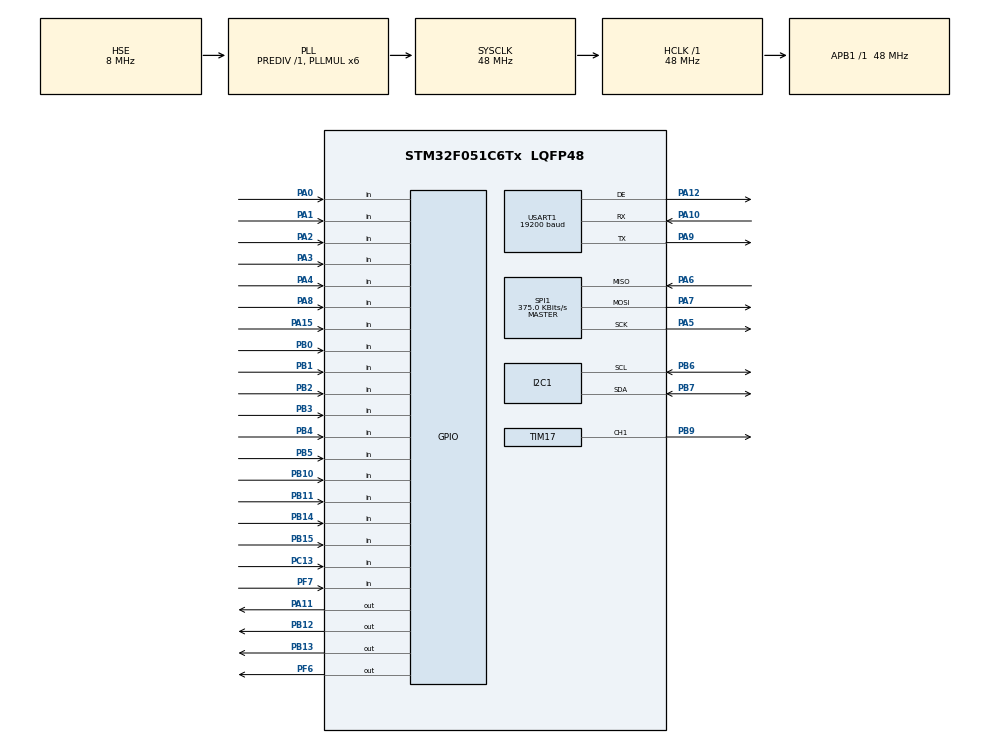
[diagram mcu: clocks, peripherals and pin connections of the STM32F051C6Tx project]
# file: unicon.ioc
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I2C1.Timing=0x20303E5D
Mcu.Family=STM32F0
Mcu.Name=STM32F051C6Tx
Mcu.Package=LQFP48
Mcu.UserConstants=MODBUS_ENABLE,0
NVIC.TIM17_IRQn=true\:0\:0\:false\:false\:true\:true
NVIC.TIM6_DAC_IRQn=true\:0\:0\:false\:false\:true\:true
NVIC.USART1_IRQn=true\:0\:0\:false\:false\:true\:true
PA0.GPIO_Mode=GPIO_MODE_INPUT
PA0.GPIO_PuPd=GPIO_NOPULL
PA0.Signal=GPIO_Input
PA1.GPIO_Mode=GPIO_MODE_INPUT
PA1.GPIO_PuPd=GPIO_NOPULL
PA1.Signal=GPIO_Input
PA10.Mode=Asynchronous
PA10.Signal=USART1_RX
PA11.GPIO_ModeDefaultOutputPP=GPIO_MODE_OUTPUT_PP
PA11.GPIO_PuPd=GPIO_NOPULL
PA11.GPIO_Speed=GPIO_SPEED_FREQ_LOW
PA11.PinState=GPIO_PIN_RESET
PA11.Signal=GPIO_Output
PA12.Mode=Hardware Flow Control (RS485)
PA12.Signal=USART1_DE
PA13.Mode=Serial_Wire
PA13.Signal=SYS_SWDIO
PA14.Mode=Serial_Wire
PA14.Signal=SYS_SWCLK
PA15.GPIO_Mode=GPIO_MODE_INPUT
PA15.GPIO_PuPd=GPIO_NOPULL
PA15.Signal=GPIO_Input
PA2.GPIO_Mode=GPIO_MODE_INPUT
PA2.GPIO_PuPd=GPIO_NOPULL
PA2.Signal=GPIO_Input
PA3.GPIO_Mode=GPIO_MODE_INPUT
PA3.GPIO_PuPd=GPIO_NOPULL
PA3.Signal=GPIO_Input
PA4.GPIO_Mode=GPIO_MODE_INPUT
PA4.GPIO_PuPd=GPIO_NOPULL
PA4.Signal=GPIO_Input
PA5.GPIO_Mode=GPIO_MODE_AF_PP
PA5.GPIO_PuPd=GPIO_NOPULL
PA5.GPIO_Speed=GPIO_SPEED_FREQ_HIGH
PA5.Mode=Full_Duplex_Master
PA5.Signal=SPI1_SCK
PA6.GPIO_Mode=GPIO_MODE_AF_PP
PA6.GPIO_PuPd=GPIO_NOPULL
PA6.GPIO_Speed=GPIO_SPEED_FREQ_HIGH
PA6.Mode=Full_Duplex_Master
PA6.Signal=SPI1_MISO
PA7.GPIO_Mode=GPIO_MODE_AF_PP
PA7.GPIO_PuPd=GPIO_NOPULL
PA7.GPIO_Speed=GPIO_SPEED_FREQ_HIGH
PA7.Mode=Full_Duplex_Master
PA7.Signal=SPI1_MOSI
PA8.GPIO_Mode=GPIO_MODE_INPUT
PA8.GPIO_PuPd=GPIO_NOPULL
PA8.Signal=GPIO_Input
PA9.Mode=Asynchronous
PA9.Signal=USART1_TX
PB0.GPIO_Mode=GPIO_MODE_INPUT
PB0.GPIO_PuPd=GPIO_NOPULL
PB0.Signal=GPIO_Input
PB1.GPIO_Mode=GPIO_MODE_INPUT
PB1.GPIO_PuPd=GPIO_NOPULL
PB1.Signal=GPIO_Input
PB10.GPIO_Mode=GPIO_MODE_INPUT
PB10.GPIO_PuPd=GPIO_NOPULL
PB10.Signal=GPIO_Input
PB11.GPIO_Mode=GPIO_MODE_INPUT
PB11.GPIO_PuPd=GPIO_NOPULL
PB11.Signal=GPIO_Input
PB12.GPIO_ModeDefaultOutputPP=GPIO_MODE_OUTPUT_PP
PB12.GPIO_PuPd=GPIO_NOPULL
PB12.GPIO_Speed=GPIO_SPEED_FREQ_LOW
PB12.PinState=GPIO_PIN_RESET
PB12.Signal=GPIO_Output
PB13.GPIO_ModeDefaultOutputPP=GPIO_MODE_OUTPUT_PP
PB13.GPIO_PuPd=GPIO_NOPULL
PB13.GPIO_Speed=GPIO_SPEED_FREQ_LOW
PB13.PinState=GPIO_PIN_RESET
PB13.Signal=GPIO_Output
PB14.GPIO_Mode=GPIO_MODE_INPUT
PB14.GPIO_PuPd=GPIO_NOPULL
PB14.Signal=GPIO_Input
PB15.GPIO_Mode=GPIO_MODE_INPUT
PB15.GPIO_PuPd=GPIO_NOPULL
PB15.Signal=GPIO_Input
PB2.GPIO_Mode=GPIO_MODE_INPUT
PB2.GPIO_PuPd=GPIO_NOPULL
PB2.Signal=GPIO_Input
PB3.GPIO_Mode=GPIO_MODE_INPUT
PB3.GPIO_PuPd=GPIO_NOPULL
PB3.Signal=GPIO_Input
PB4.GPIO_Mode=GPIO_MODE_INPUT
PB4.GPIO_PuPd=GPIO_NOPULL
PB4.Signal=GPIO_Input
PB5.GPIO_Mode=GPIO_MODE_INPUT
PB5.GPIO_PuPd=GPIO_NOPULL
PB5.Signal=GPIO_Input
PB6.Mode=I2C
PB6.Signal=I2C1_SCL
PB7.Mode=I2C
PB7.Signal=I2C1_SDA
PB9.Signal=S_TIM17_CH1
PC13.GPIO_Mode=GPIO_MODE_INPUT
PC13.GPIO_PuPd=GPIO_NOPULL
PC13.Signal=GPIO_Input
PC14-OSC32_IN.Mode=LSE-External-Oscillator
PC14-OSC32_IN.Signal=RCC_OSC32_IN
PC15-OSC32_OUT.Mode=LSE-External-Oscillator
PC15-OSC32_OUT.Signal=RCC_OSC32_OUT
PF0-OSC_IN.Mode=HSE-External-Oscillator
PF0-OSC_IN.Signal=RCC_OSC_IN
PF1-OSC_OUT.Mode=HSE-External-Oscillator
PF1-OSC_OUT.Signal=RCC_OSC_OUT
PF6.GPIO_ModeDefaultOutputPP=GPIO_MODE_OUTPUT_PP
PF6.GPIO_PuPd=GPIO_NOPULL
PF6.GPIO_Speed=GPIO_SPEED_FREQ_LOW
PF6.PinState=GPIO_PIN_RESET
PF6.Signal=GPIO_Output
PF7.GPIO_Mode=GPIO_MODE_INPUT
PF7.GPIO_PuPd=GPIO_NOPULL
PF7.Signal=GPIO_Input
ProjectManager.HeapSize=0x200
ProjectManager.StackSize=0x400
ProjectManager.TargetToolchain=Other Toolchains (GPDSC)
RCC.AHBFreq_Value=48000000
RCC.APB1Freq_Value=48000000
RCC.APB1TimFreq_Value=48000000
RCC.HCLKFreq_Value=48000000
RCC.I2c1ClockSelection=RCC_I2C1CLKSOURCE_SYSCLK
RCC.PLLMUL=RCC_PLL_MUL6
RCC.PLLSourceVirtual=RCC_PLLSOURCE_HSE
RCC.RCC_MCOSource=RCC_MCO1SOURCE_PLLCLK_DIV2
RCC.SYSCLKFreq_VALUE=48000000
RCC.SYSCLKSource=RCC_SYSCLKSOURCE_PLLCLK
RCC.TimSys_Div=SYSTICK_CLKSOURCE_HCLK_DIV8
RCC.Usart1ClockSelection=RCC_USART1CLKSOURCE_SYSCLK
SH.S_TIM17_CH1.0=TIM17_CH1,PWM Generation1 CH1
SPI1.BaudRatePrescaler=SPI_BAUDRATEPRESCALER_128
SPI1.CLKPhase=SPI_PHASE_1EDGE
SPI1.CLKPolarity=SPI_POLARITY_LOW
SPI1.CalculateBaudRate=375.0 KBits/s
SPI1.DataSize=SPI_DATASIZE_8BIT
SPI1.Direction=SPI_DIRECTION_2LINES
SPI1.Mode=SPI_MODE_MASTER
SPI1.VirtualType=VM_MASTER
TIM17.Channel=TIM_CHANNEL_1
TIM17.Period=60
TIM17.Pulse=35
TIM6.Period=1000
USART1.BaudRate=19200
USART1.VirtualMode-Asynchronous=VM_ASYNC
USART1.VirtualMode-Hardware\ Flow\ Control\ (RS485)=VM_ASYNC
VP_ADC_TempSens_Input.Mode=IN-TempSens
VP_TIM17_VS_ClockSourceINT.Mode=Enable_Timer
VP_TIM6_VS_ClockSourceINT.Mode=Enable_Timer
VP_TIM6_VS_OPM.Mode=OPM_bit
board=unicon

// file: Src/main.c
/**
  ******************************************************************************
  * File Name          : main.c
  * Description        : Main program body
  ******************************************************************************
  ** This notice applies to any and all portions of this file
  * that are not between comment pairs USER CODE BEGIN and
  * USER CODE END. Other portions of this file, whether
  * inserted by the user or by software development tools
  * are owned by their respective copyright owners.
  *
  * COPYRIGHT(c) 2018 STMicroelectronics
  *
  * Redistribution and use in source and binary forms, with or without modification,
  * are permitted provided that the following conditions are met:
  *   1. Redistributions of source code must retain the above copyright notice,
  *      this list of conditions and the following disclaimer.
  *   2. Redistributions in binary form must reproduce the above copyright notice,
  *      this list of conditions and the following disclaimer in the documentation
  *      and/or other materials provided with the distribution.
  *   3. Neither the name of STMicroelectronics nor the names of its contributors
  *      may be used to endorse or promote products derived from this software
  *      without specific prior written permission.
  *
  * THIS SOFTWARE IS PROVIDED BY THE COPYRIGHT HOLDERS AND CONTRIBUTORS "AS IS"
  * AND ANY EXPRESS OR IMPLIED WARRANTIES, INCLUDING, BUT NOT LIMITED TO, THE
  * IMPLIED WARRANTIES OF MERCHANTABILITY AND FITNESS FOR A PARTICULAR PURPOSE ARE
  * DISCLAIMED. IN NO EVENT SHALL THE COPYRIGHT HOLDER OR CONTRIBUTORS BE LIABLE
  * FOR ANY DIRECT, INDIRECT, INCIDENTAL, SPECIAL, EXEMPLARY, OR CONSEQUENTIAL
  * DAMAGES (INCLUDING, BUT NOT LIMITED TO, PROCUREMENT OF SUBSTITUTE GOODS OR
  * SERVICES; LOSS OF USE, DATA, OR PROFITS; OR BUSINESS INTERRUPTION) HOWEVER
  * CAUSED AND ON ANY THEORY OF LIABILITY, WHETHER IN CONTRACT, STRICT LIABILITY,
  * OR TORT (INCLUDING NEGLIGENCE OR OTHERWISE) ARISING IN ANY WAY OUT OF THE USE
  * OF THIS SOFTWARE, EVEN IF ADVISED OF THE POSSIBILITY OF SUCH DAMAGE.
  *
  ******************************************************************************
  */
#include "main.h"
#include "stm32f0xx_hal.h"

/* USER CODE BEGIN Includes */
#include "eeprom_iic.h"
#include "mb.h"
#include "mbport.h"
#include "uart.h"
#include "user_mb_app.h"
/* USER CODE END Includes */

ADC_HandleTypeDef hadc;

I2C_HandleTypeDef hi2c1;

SPI_HandleTypeDef hspi1;

TIM_HandleTypeDef htim6;
TIM_HandleTypeDef htim17;

UART_HandleTypeDef huart1;

/* USER CODE BEGIN PV */
SysTime_TypeDef SysTimers;

volatile uint32_t* Timestamp = &SysTimers.CurrentTimestamp;
uint32_t* WTime = &SysTimers.WTime_sec;

FlagStatus ReadAnalogsFlag = RESET;
FlagStatus SaveWTime = RESET;
FlagStatus SystemNeedReInit = RESET;
FlagStatus SystemNeedReBoot = RESET;

/* Private variables ---------------------------------------------------------*/

/* USER CODE END PV */

void SystemClock_Config(void);
static void MX_GPIO_Init(void);
static void MX_I2C1_Init(void);
static void MX_SPI1_Init(void);
static void MX_USART1_UART_Init(void);
static void MX_TIM6_Init(void);
static void MX_ADC_Init(void);
static void MX_TIM17_Init(void);

void HAL_TIM_MspPostInit(TIM_HandleTypeDef *htim);

/* USER CODE BEGIN PFP */
/* Private function prototypes -----------------------------------------------*/
static void SysTimeCounterUpdate(void);
static void SystemReset(void);
/* USER CODE END PFP */

int main(void)
{

  /* USER CODE BEGIN 1 */
    static uint32_t delay = 0;
  /* USER CODE END 1 */

  /* MCU Configuration----------------------------------------------------------*/

  /* Reset of all peripherals, Initializes the Flash interface and the Systick. */
  HAL_Init();

  /* USER CODE BEGIN Init */
#if( MODBUS_ENABLE==1 )
    (void)eMBInit( MB_RTU, (UCHAR)0x0A, 0, (ULONG)19200, MB_PAR_NONE );
    (void)eMBSetSlaveID( 0x01, TRUE, ucSlaveIdBuf, (MB_FUNC_OTHER_REP_SLAVEID_BUF - 4) );
    (void)eMBEnable();
#endif
  /* USER CODE END Init */

  /* Configure the system clock */
  SystemClock_Config();

  /* Initialize all configured peripherals */
  MX_GPIO_Init();
  MX_I2C1_Init();
  MX_SPI1_Init();
  MX_USART1_UART_Init();
  MX_TIM6_Init();
  MX_ADC_Init();
  MX_TIM17_Init();

  /* Infinite loop */
  /* USER CODE BEGIN WHILE */
    while (1) {

    if(delay < *Timestamp){

        delay = *Timestamp + 500;

        (void)HAL_TIM_PWM_Start_IT(&htim17, TIM_CHANNEL_1);
    }

  /* USER CODE END WHILE */

  /* USER CODE BEGIN 3 */

        if(ReadAnalogsFlag != RESET) {
            ReadAnalogsFlag = RESET;
        }

        if(SaveWTime != RESET) {
            SaveWTime = RESET;
            //(void)EEP24XX_Write(EEADDR_WTIME, WTime, 4);
        }

        if(SystemNeedReInit != RESET) {
            SystemNeedReInit = RESET;
        }

        if(SystemNeedReBoot != RESET) {
            SystemNeedReBoot = RESET;
            SystemReset();
        }

#if( MODBUS_ENABLE == 1 )
    (void)eMBPoll();
#endif

    }
  /* USER CODE END 3 */

}

/** System Clock Configuration
*/
void SystemClock_Config(void)
{

  RCC_OscInitTypeDef RCC_OscInitStruct;
  RCC_ClkInitTypeDef RCC_ClkInitStruct;
  RCC_PeriphCLKInitTypeDef PeriphClkInit;

    /**Initializes the CPU, AHB and APB busses clocks
    */
  RCC_OscInitStruct.OscillatorType = RCC_OSCILLATORTYPE_HSI14|RCC_OSCILLATORTYPE_HSE;
  RCC_OscInitStruct.HSEState = RCC_HSE_ON;
  RCC_OscInitStruct.HSIState = RCC_HSI_ON;
  RCC_OscInitStruct.HSI14State = RCC_HSI14_ON;
  RCC_OscInitStruct.HSI14CalibrationValue = 16;
  RCC_OscInitStruct.PLL.PLLState = RCC_PLL_ON;
  RCC_OscInitStruct.PLL.PLLSource = RCC_PLLSOURCE_HSE;
  RCC_OscInitStruct.PLL.PLLMUL = RCC_PLL_MUL6;
  RCC_OscInitStruct.PLL.PREDIV = RCC_PREDIV_DIV1;
  if (HAL_RCC_OscConfig(&RCC_OscInitStruct) != HAL_OK)
  {
    _Error_Handler(__FILE__, __LINE__);
  }

    /**Initializes the CPU, AHB and APB busses clocks
    */
  RCC_ClkInitStruct.ClockType = RCC_CLOCKTYPE_HCLK|RCC_CLOCKTYPE_SYSCLK
                              |RCC_CLOCKTYPE_PCLK1;
  RCC_ClkInitStruct.SYSCLKSource = RCC_SYSCLKSOURCE_PLLCLK;
  RCC_ClkInitStruct.AHBCLKDivider = RCC_SYSCLK_DIV1;
  RCC_ClkInitStruct.APB1CLKDivider = RCC_HCLK_DIV1;

  if (HAL_RCC_ClockConfig(&RCC_ClkInitStruct, FLASH_LATENCY_1) != HAL_OK)
  {
    _Error_Handler(__FILE__, __LINE__);
  }

  PeriphClkInit.PeriphClockSelection = RCC_PERIPHCLK_USART1|RCC_PERIPHCLK_I2C1;
  PeriphClkInit.Usart1ClockSelection = RCC_USART1CLKSOURCE_SYSCLK;
  PeriphClkInit.I2c1ClockSelection = RCC_I2C1CLKSOURCE_SYSCLK;
  if (HAL_RCCEx_PeriphCLKConfig(&PeriphClkInit) != HAL_OK)
  {
    _Error_Handler(__FILE__, __LINE__);
  }

    /**Configure the Systick interrupt time
    */
  HAL_SYSTICK_Config(HAL_RCC_GetHCLKFreq()/8000);

    /**Configure the Systick
    */
  HAL_SYSTICK_CLKSourceConfig(SYSTICK_CLKSOURCE_HCLK_DIV8);

  /* SysTick_IRQn interrupt configuration */
  HAL_NVIC_SetPriority(SysTick_IRQn, 0, 0);
}

/* ADC init function */
static void MX_ADC_Init(void)
{

  ADC_ChannelConfTypeDef sConfig;

    /**Configure the global features of the ADC (Clock, Resolution, Data Alignment and number of conversion)
    */
  hadc.Instance = ADC1;
  hadc.Init.ClockPrescaler = ADC_CLOCK_ASYNC_DIV1;
  hadc.Init.Resolution = ADC_RESOLUTION_12B;
  hadc.Init.DataAlign = ADC_DATAALIGN_RIGHT;
  hadc.Init.ScanConvMode = ADC_SCAN_DIRECTION_FORWARD;
  hadc.Init.EOCSelection = ADC_EOC_SINGLE_CONV;
  hadc.Init.LowPowerAutoWait = DISABLE;
  hadc.Init.LowPowerAutoPowerOff = DISABLE;
  hadc.Init.ContinuousConvMode = DISABLE;
  hadc.Init.DiscontinuousConvMode = DISABLE;
  hadc.Init.ExternalTrigConv = ADC_SOFTWARE_START;
  hadc.Init.ExternalTrigConvEdge = ADC_EXTERNALTRIGCONVEDGE_NONE;
  hadc.Init.DMAContinuousRequests = DISABLE;
  hadc.Init.Overrun = ADC_OVR_DATA_PRESERVED;
  if (HAL_ADC_Init(&hadc) != HAL_OK)
  {
    _Error_Handler(__FILE__, __LINE__);
  }

    /**Configure for the selected ADC regular channel to be converted.
    */
  sConfig.Channel = ADC_CHANNEL_TEMPSENSOR;
  sConfig.Rank = ADC_RANK_CHANNEL_NUMBER;
  sConfig.SamplingTime = ADC_SAMPLETIME_1CYCLE_5;
  if (HAL_ADC_ConfigChannel(&hadc, &sConfig) != HAL_OK)
  {
    _Error_Handler(__FILE__, __LINE__);
  }

}

/* I2C1 init function */
static void MX_I2C1_Init(void)
{

  hi2c1.Instance = I2C1;
  hi2c1.Init.Timing = 0x20303E5D;
  hi2c1.Init.OwnAddress1 = 0;
  hi2c1.Init.AddressingMode = I2C_ADDRESSINGMODE_7BIT;
  hi2c1.Init.DualAddressMode = I2C_DUALADDRESS_DISABLE;
  hi2c1.Init.OwnAddress2 = 0;
  hi2c1.Init.OwnAddress2Masks = I2C_OA2_NOMASK;
  hi2c1.Init.GeneralCallMode = I2C_GENERALCALL_DISABLE;
  hi2c1.Init.NoStretchMode = I2C_NOSTRETCH_DISABLE;
  if (HAL_I2C_Init(&hi2c1) != HAL_OK)
  {
    _Error_Handler(__FILE__, __LINE__);
  }

    /**Configure Analogue filter
    */
  if (HAL_I2CEx_ConfigAnalogFilter(&hi2c1, I2C_ANALOGFILTER_ENABLE) != HAL_OK)
  {
    _Error_Handler(__FILE__, __LINE__);
  }

    /**Configure Digital filter
    */
  if (HAL_I2CEx_ConfigDigitalFilter(&hi2c1, 0) != HAL_OK)
  {
    _Error_Handler(__FILE__, __LINE__);
  }

}

/* SPI1 init function */
static void MX_SPI1_Init(void)
{

  /* SPI1 parameter configuration*/
  hspi1.Instance = SPI1;
  hspi1.Init.Mode = SPI_MODE_MASTER;
  hspi1.Init.Direction = SPI_DIRECTION_2LINES;
  hspi1.Init.DataSize = SPI_DATASIZE_8BIT;
  hspi1.Init.CLKPolarity = SPI_POLARITY_LOW;
  hspi1.Init.CLKPhase = SPI_PHASE_1EDGE;
  hspi1.Init.NSS = SPI_NSS_SOFT;
  hspi1.Init.BaudRatePrescaler = SPI_BAUDRATEPRESCALER_128;
  hspi1.Init.FirstBit = SPI_FIRSTBIT_MSB;
  hspi1.Init.TIMode = SPI_TIMODE_DISABLE;
  hspi1.Init.CRCCalculation = SPI_CRCCALCULATION_DISABLE;
  hspi1.Init.CRCPolynomial = 7;
  hspi1.Init.CRCLength = SPI_CRC_LENGTH_DATASIZE;
  hspi1.Init.NSSPMode = SPI_NSS_PULSE_ENABLE;
  if (HAL_SPI_Init(&hspi1) != HAL_OK)
  {
    _Error_Handler(__FILE__, __LINE__);
  }

}

/* TIM6 init function */
static void MX_TIM6_Init(void)
{

  TIM_MasterConfigTypeDef sMasterConfig;

  htim6.Instance = TIM6;
  htim6.Init.Prescaler = 0;
  htim6.Init.CounterMode = TIM_COUNTERMODE_UP;
  htim6.Init.Period = 1000;
  htim6.Init.AutoReloadPreload = TIM_AUTORELOAD_PRELOAD_DISABLE;
  if (HAL_TIM_Base_Init(&htim6) != HAL_OK)
  {
    _Error_Handler(__FILE__, __LINE__);
  }

  if (HAL_TIM_OnePulse_Init(&htim6, TIM_OPMODE_SINGLE) != HAL_OK)
  {
    _Error_Handler(__FILE__, __LINE__);
  }

  sMasterConfig.MasterOutputTrigger = TIM_TRGO_RESET;
  sMasterConfig.MasterSlaveMode = TIM_MASTERSLAVEMODE_DISABLE;
  if (HAL_TIMEx_MasterConfigSynchronization(&htim6, &sMasterConfig) != HAL_OK)
  {
    _Error_Handler(__FILE__, __LINE__);
  }

}

/* TIM17 init function */
static void MX_TIM17_Init(void)
{

  TIM_OC_InitTypeDef sConfigOC;
  TIM_BreakDeadTimeConfigTypeDef sBreakDeadTimeConfig;

  htim17.Instance = TIM17;
  htim17.Init.Prescaler = 4;
  htim17.Init.CounterMode = TIM_COUNTERMODE_UP;
  htim17.Init.Period = 60;
  htim17.Init.ClockDivision = TIM_CLOCKDIVISION_DIV1;
  htim17.Init.RepetitionCounter = 0;
  htim17.Init.AutoReloadPreload = TIM_AUTORELOAD_PRELOAD_DISABLE;
  if (HAL_TIM_Base_Init(&htim17) != HAL_OK)
  {
    _Error_Handler(__FILE__, __LINE__);
  }

  if (HAL_TIM_PWM_Init(&htim17) != HAL_OK)
  {
    _Error_Handler(__FILE__, __LINE__);
  }

  sConfigOC.OCMode = TIM_OCMODE_PWM1;
  sConfigOC.Pulse = 5;//17-> '0', 35->'1'
  sConfigOC.OCPolarity = TIM_OCPOLARITY_HIGH;
  sConfigOC.OCNPolarity = TIM_OCNPOLARITY_HIGH;
  sConfigOC.OCFastMode = TIM_OCFAST_DISABLE;
  sConfigOC.OCIdleState = TIM_OCIDLESTATE_RESET;
  sConfigOC.OCNIdleState = TIM_OCNIDLESTATE_RESET;
  if (HAL_TIM_PWM_ConfigChannel(&htim17, &sConfigOC, TIM_CHANNEL_1) != HAL_OK)
  {
    _Error_Handler(__FILE__, __LINE__);
  }

  sBreakDeadTimeConfig.OffStateRunMode = TIM_OSSR_DISABLE;
  sBreakDeadTimeConfig.OffStateIDLEMode = TIM_OSSI_DISABLE;
  sBreakDeadTimeConfig.LockLevel = TIM_LOCKLEVEL_OFF;
  sBreakDeadTimeConfig.DeadTime = 0;
  sBreakDeadTimeConfig.BreakState = TIM_BREAK_DISABLE;
  sBreakDeadTimeConfig.BreakPolarity = TIM_BREAKPOLARITY_HIGH;
  sBreakDeadTimeConfig.AutomaticOutput = TIM_AUTOMATICOUTPUT_DISABLE;
  if (HAL_TIMEx_ConfigBreakDeadTime(&htim17, &sBreakDeadTimeConfig) != HAL_OK)
  {
    _Error_Handler(__FILE__, __LINE__);
  }

  HAL_TIM_MspPostInit(&htim17);

}

/* USART1 init function */
static void MX_USART1_UART_Init(void)
{

  huart1.Instance = USART1;
  huart1.Init.BaudRate = 19200;
  huart1.Init.WordLength = UART_WORDLENGTH_8B;
  huart1.Init.StopBits = UART_STOPBITS_1;
  huart1.Init.Parity = UART_PARITY_NONE;
  huart1.Init.Mode = UART_MODE_TX_RX;
  huart1.Init.HwFlowCtl = UART_HWCONTROL_NONE;
  huart1.Init.OverSampling = UART_OVERSAMPLING_16;
  huart1.Init.OneBitSampling = UART_ONE_BIT_SAMPLE_DISABLE;
  huart1.AdvancedInit.AdvFeatureInit = UART_ADVFEATURE_NO_INIT;
  if (HAL_RS485Ex_Init(&huart1, UART_DE_POLARITY_HIGH, 0, 0) != HAL_OK)
  {
    _Error_Handler(__FILE__, __LINE__);
  }

}

/** Configure pins as
        * Analog
        * Input
        * Output
        * EVENT_OUT
        * EXTI
*/
static void MX_GPIO_Init(void)
{

  GPIO_InitTypeDef GPIO_InitStruct;

  /* GPIO Ports Clock Enable */
  __HAL_RCC_GPIOC_CLK_ENABLE();
  __HAL_RCC_GPIOF_CLK_ENABLE();
  __HAL_RCC_GPIOA_CLK_ENABLE();
  __HAL_RCC_GPIOB_CLK_ENABLE();

  /*Configure GPIO pin Output Level */
  HAL_GPIO_WritePin(GPIOB, GPIO_PIN_12|GPIO_PIN_13, GPIO_PIN_RESET);

  /*Configure GPIO pin Output Level */
  HAL_GPIO_WritePin(GPIOA, GPIO_PIN_11, GPIO_PIN_RESET);

  /*Configure GPIO pin Output Level */
  HAL_GPIO_WritePin(GPIOF, GPIO_PIN_6, GPIO_PIN_RESET);

  /*Configure GPIO pin : PC13 */
  GPIO_InitStruct.Pin = GPIO_PIN_13;
  GPIO_InitStruct.Mode = GPIO_MODE_INPUT;
  GPIO_InitStruct.Pull = GPIO_NOPULL;
  HAL_GPIO_Init(GPIOC, &GPIO_InitStruct);

  /*Configure GPIO pins : PA0 PA1 PA2 PA3
                           PA4 PA8 PA15 */
  GPIO_InitStruct.Pin = GPIO_PIN_0|GPIO_PIN_1|GPIO_PIN_2|GPIO_PIN_3
                          |GPIO_PIN_4|GPIO_PIN_8|GPIO_PIN_15;
  GPIO_InitStruct.Mode = GPIO_MODE_INPUT;
  GPIO_InitStruct.Pull = GPIO_NOPULL;
  HAL_GPIO_Init(GPIOA, &GPIO_InitStruct);

  /*Configure GPIO pins : PB0 PB1 PB2 PB10
                           PB11 PB14 PB15 PB3
                           PB4 PB5 */
  GPIO_InitStruct.Pin = GPIO_PIN_0|GPIO_PIN_1|GPIO_PIN_2|GPIO_PIN_10
                          |GPIO_PIN_11|GPIO_PIN_14|GPIO_PIN_15|GPIO_PIN_3
                          |GPIO_PIN_4|GPIO_PIN_5;
  GPIO_InitStruct.Mode = GPIO_MODE_INPUT;
  GPIO_InitStruct.Pull = GPIO_NOPULL;
  HAL_GPIO_Init(GPIOB, &GPIO_InitStruct);

  /*Configure GPIO pins : PB12 PB13 */
  GPIO_InitStruct.Pin = GPIO_PIN_12|GPIO_PIN_13;
  GPIO_InitStruct.Mode = GPIO_MODE_OUTPUT_PP;
  GPIO_InitStruct.Pull = GPIO_NOPULL;
  GPIO_InitStruct.Speed = GPIO_SPEED_FREQ_LOW;
  HAL_GPIO_Init(GPIOB, &GPIO_InitStruct);

  /*Configure GPIO pin : PA11 */
  GPIO_InitStruct.Pin = GPIO_PIN_11;
  GPIO_InitStruct.Mode = GPIO_MODE_OUTPUT_PP;
  GPIO_InitStruct.Pull = GPIO_NOPULL;
  GPIO_InitStruct.Speed = GPIO_SPEED_FREQ_LOW;
  HAL_GPIO_Init(GPIOA, &GPIO_InitStruct);

  /*Configure GPIO pin : PF6 */
  GPIO_InitStruct.Pin = GPIO_PIN_6;
  GPIO_InitStruct.Mode = GPIO_MODE_OUTPUT_PP;
  GPIO_InitStruct.Pull = GPIO_NOPULL;
  GPIO_InitStruct.Speed = GPIO_SPEED_FREQ_LOW;
  HAL_GPIO_Init(GPIOF, &GPIO_InitStruct);

  /*Configure GPIO pin : PF7 */
  GPIO_InitStruct.Pin = GPIO_PIN_7;
  GPIO_InitStruct.Mode = GPIO_MODE_INPUT;
  GPIO_InitStruct.Pull = GPIO_NOPULL;
  HAL_GPIO_Init(GPIOF, &GPIO_InitStruct);

}

/* USER CODE BEGIN 4 */

/*  */
static void SystemReset(void) {
    NVIC_SystemReset();
}

/* SYSTICK callback funkcija */
void HAL_SYSTICK_Callback(void) {
    SysTimeCounterUpdate();
}

/* Sisteminiai taimeriai */
static void SysTimeCounterUpdate(void) {

    static uint8_t wr_to_eeprom_cnt = 0;

    static uint32_t time = 0u;

    *Timestamp = HAL_GetTick();

    if( time <= *Timestamp ) {
        time = *Timestamp + 1000u;
        (*WTime)++;

        /* kas minute EEPROMe saugojam WTIME */
        if( wr_to_eeprom_cnt++ >= 60 ) {
            wr_to_eeprom_cnt = 0;
            SaveWTime = SET;
        }
    }
}

/* USER CODE END 4 */

void _Error_Handler(char * file, int line)
{
    while(1) {
    }
}

/************************ (C) COPYRIGHT STMicroelectronics *****END OF FILE****/
